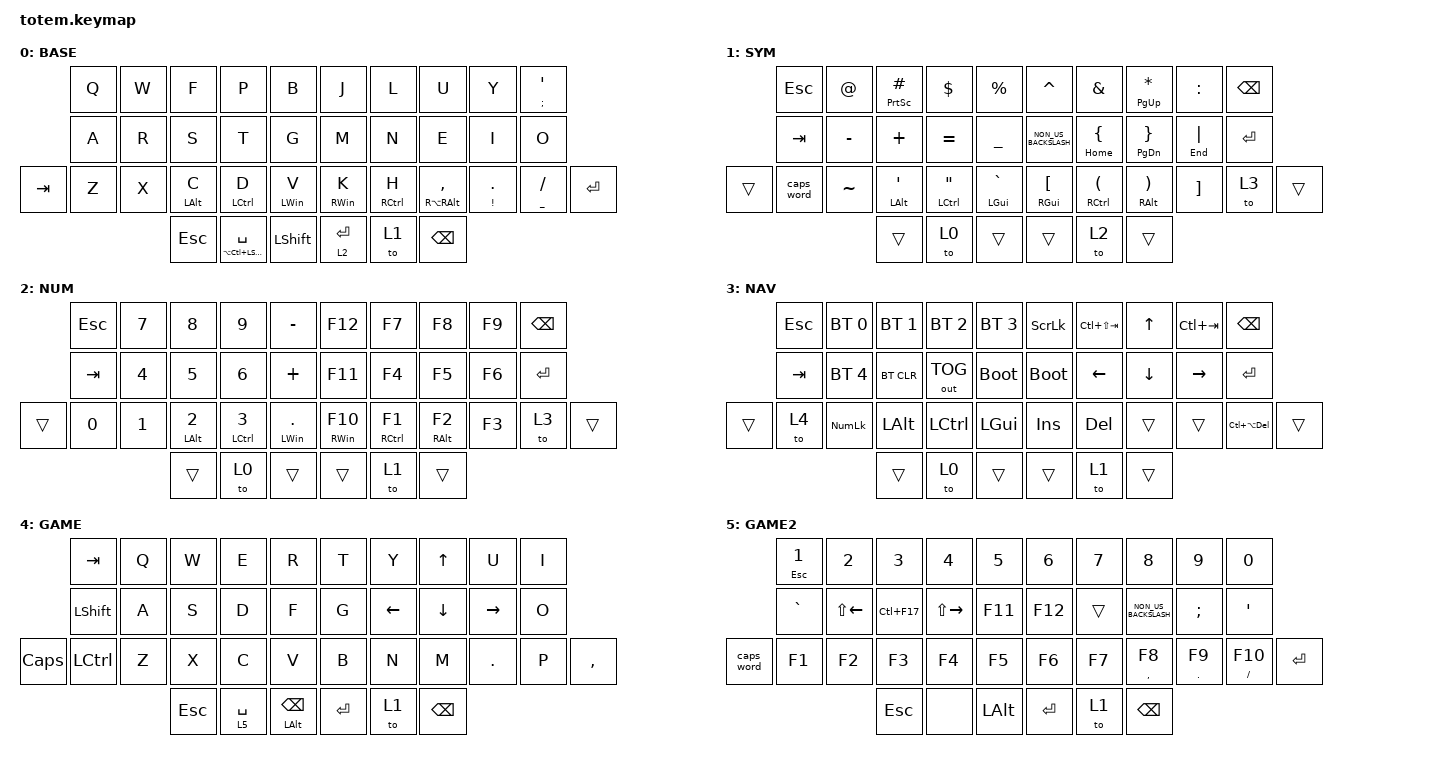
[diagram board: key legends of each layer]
//
//                                                        ▀▀▀▀▀     ▀▀▀▀▀          ▀▀█▀▀
//                                                        ▄▀▀▀▄  ▄  ▄▀▀▀▄  ▄  ▄▀▀▀▄  █  ▄▀▀▀▄
//                                                        █   █  █  █   █  █  █   █  █  █   █
//                                                         ▀▀▀   █   ▀▀▀   █   ▀▀▀   ▀   ▀▀▀
//                                                               █      ▄▄▄█▄▄▄    █   █  
//                                                               ▀      █  █  █     █▄█
//                                                             ▀▀▀▀▀    █  █  █      ▀
//                                                                      ▀  ▀  ▀
//
// ▄▄▄▄▄▄▄▄▄▄▄▄▄▄▄▄▄▄▄▄▄▄▄▄▄▄▄▄▄▄▄▄▄▄▄▄▄▄▄▄▄▄▄▄▄▄▄▄▄▄▄▄▄▄▄▄▄▄▄▄▄▄▄▄▄▄▄▄▄▄▄▄▄▄▄▄▄▄▄▄▄▄▄▄▄▄▄▄▄▄▄▄▄▄▄▄▄▄▄▄▄▄▄▄▄▄▄▄▄▄▄▄▄▄▄▄▄▄▄▄▄▄▄▄▄▄▄▄▄▄▄▄▄▄▄▄▄▄▄▄▄▄▄▄▄▄▄▄▄

#include <behaviors.dtsi>
#include <dt-bindings/zmk/bt.h>
#include <dt-bindings/zmk/keys.h>
#include <dt-bindings/zmk/outputs.h>

#define BASE 0
#define NAV  1
#define SYM  2
#define ADJ  3
#define TVP1 4
#define TVP2 5

&mt {
    quick-tap-ms = <100>;
    global-quick-tap;
    flavor = "tap-preferred";
    tapping-term-ms = <200>;
};

/ {
    combos {
        compatible = "zmk,combos";

        cut {
            bindings = <&kp LC(X)>;
            key-positions = <21 22 23>;
        };

        copy {
            bindings = <&kp LC(C)>;
            key-positions = <22 23 24>;
        };

        paste {
            bindings = <&kp LC(V)>;
            key-positions = <25 24 23>;
        };
    };

    macros {
        gif: gif {
            label = "giphy";
            compatible = "zmk,behavior-macro";
            #binding-cells = <0>;
            bindings =
                <&macro_press>,
                <&kp LSHFT>,
                <&macro_tap>,
                <&kp N2>,
                <&macro_release>,
                <&kp LSHFT>,
                <&macro_tap>,
                <&kp G &kp I &kp F>;
        };
    };

    keymap {
        compatible = "zmk,keymap";

        // ▄▄▄▄▄▄▄▄▄▄▄▄▄▄▄▄▄▄▄▄▄▄▄▄▄▄▄▄▄▄▄▄▄▄▄▄▄▄▄▄▄▄▄▄▄▄▄▄▄▄▄▄▄▄▄▄▄▄▄▄▄▄▄▄▄▄▄▄▄▄▄▄▄▄▄▄▄▄▄▄▄▄▄▄▄▄▄▄▄▄▄▄▄▄▄▄▄▄▄▄▄▄▄▄▄▄▄▄▄▄▄▄▄▄▄▄▄▄▄▄▄▄▄▄▄▄▄▄▄▄▄▄▄▄▄▄▄▄▄▄▄▄▄▄▄▄▄▄▄

        BASE {
            // ┏━━━━━━━━━━━━━━━━━━━━━━━━━━━━━━━━━━━━━━━┓

            label = "BASE";

            // ┗━━━━━━━━━━━━━━━━━━━━━━━━━━━━━━━━━━━━━━━┛
            //             ┏━━━━━━━━━━━┳━━━━━━━━━━━┳━━━━━━━━━━━┳━━━━━━━━━━━┳━━━━━━━━━━━┓   ┏━━━━━━━━━━━┳━━━━━━━━━━━┳━━━━━━━━━━━┳━━━━━━━━━━━┳━━━━━━━━━━━┓
            //             ┃     Q     ┃     W     ┃     F     ┃     P     ┃     G     ┃   ┃     J     ┃     L     ┃     U     ┃     Y     ┃     ;     ┃
            //             ┣━━━━━━━━━━━╋━━━━━━━━━━━╋━━━━━━━━━━━╋━━━━━━━━━━━╋━━━━━━━━━━━┫   ┣━━━━━━━━━━━╋━━━━━━━━━━━╋━━━━━━━━━━━╋━━━━━━━━━━━╋━━━━━━━━━━━┫
            //             ┃     A     ┃     R     ┃     S     ┃     T     ┃     D     ┃   ┃     H     ┃     N     ┃     E     ┃     I     ┃     O     ┃
            // ┏━━━━━━━━━━━╋━━━━━━━━━━━╋━━━━━━━━━━━╋━━━━━━━━━━━╋━━━━━━━━━━━╋━━━━━━━━━━━┫   ┣━━━━━━━━━━━╋━━━━━━━━━━━╋━━━━━━━━━━━╋━━━━━━━━━━━╋━━━━━━━━━━━╋━━━━━━━━━━━┓
            // ┃     Q     ┃     Z     ┃     X     ┃     C     ┃     V     ┃     B     ┃   ┃     K     ┃     M     ┃     ,     ┃     .     ┃     /     ┃     \     ┃
            // ┗━━━━━━━━━━━┻━━━━━━━━━━━┻━━━━━━━━━━━╋━━━━━━━━━━━╋━━━━━━━━━━━╋━━━━━━━━━━━┫   ┣━━━━━━━━━━━╋━━━━━━━━━━━╋━━━━━━━━━━━╋━━━━━━━━━━━┻━━━━━━━━━━━┻━━━━━━━━━━━┛
            //                                     ┃    DEL    ┃    TAB    ┃    SPC    ┃   ┃   ENTER   ┃           ┃   BSPC    ┃
            //                                     ┗━━━━━━━━━━━┻━━━━━━━━━━━┻━━━━━━━━━━━┛   ┗━━━━━━━━━━━┻━━━━━━━━━━━┻━━━━━━━━━━━┛

            bindings = <
         &kp Q  &kp W  &kp F           &kp P                         &kp B             &kp J            &kp L        &kp U                    &kp Y                   &mt SEMI SQT
         &kp A  &kp R  &kp S           &kp T                         &kp G             &kp M            &kp N        &kp E                    &kp I                   &kp O
&kp TAB  &kp Z  &kp X  &mt LEFT_ALT C  &mt LCTRL D                   &mt LEFT_WIN V    &mt RIGHT_WIN K  &mt RCTRL H  &mt RA(RIGHT_ALT) COMMA  &mt EXCLAMATION PERIOD  &mt UNDERSCORE SLASH  &kp ENTER
                       &kp ESCAPE      &mt LA(LC(LEFT_SHIFT)) SPACE  &kp LEFT_SHIFT    &lt 2 ENTER      &to 1        &kp BSPC
            >;
        };

        SYM {
            // ┏━━━━━━━━━━━━━━━━━━━━━━━━━━━━━━━━━━━━━━━┓

            label = "SYM";

            // ┗━━━━━━━━━━━━━━━━━━━━━━━━━━━━━━━━━━━━━━━┛
            //             ┏━━━━━━━━━━━┳━━━━━━━━━━━┳━━━━━━━━━━━┳━━━━━━━━━━━┳━━━━━━━━━━━┓   ┏━━━━━━━━━━━┳━━━━━━━━━━━┳━━━━━━━━━━━┳━━━━━━━━━━━┳━━━━━━━━━━━┓
            //             ┃           ┃           ┃     UP    ┃           ┃     {     ┃   ┃     }     ┃     7     ┃     8     ┃     9     ┃     +     ┃
            //             ┣━━━━━━━━━━━╋━━━━━━━━━━━╋━━━━━━━━━━━╋━━━━━━━━━━━╋━━━━━━━━━━━┫   ┣━━━━━━━━━━━╋━━━━━━━━━━━╋━━━━━━━━━━━╋━━━━━━━━━━━╋━━━━━━━━━━━┫
            //             ┃   SHIFT   ┃   LEFT    ┃    DOWN   ┃   RIGHT   ┃     [     ┃   ┃     ]     ┃     4     ┃     5     ┃     6     ┃     -     ┃
            // ┏━━━━━━━━━━━╋━━━━━━━━━━━╋━━━━━━━━━━━╋━━━━━━━━━━━╋━━━━━━━━━━━╋━━━━━━━━━━━┫   ┣━━━━━━━━━━━╋━━━━━━━━━━━╋━━━━━━━━━━━╋━━━━━━━━━━━╋━━━━━━━━━━━╋━━━━━━━━━━━┓
            // ┃           ┃           ┃   P UP    ┃  C LOCK   ┃  P DOWN   ┃     (     ┃   ┃     )     ┃     1     ┃     2     ┃     3     ┃     *     ┃           ┃
            // ┗━━━━━━━━━━━┻━━━━━━━━━━━┻━━━━━━━━━━━╋━━━━━━━━━━━╋━━━━━━━━━━━╋━━━━━━━━━━━┫   ┣━━━━━━━━━━━╋━━━━━━━━━━━╋━━━━━━━━━━━╋━━━━━━━━━━━┻━━━━━━━━━━━┻━━━━━━━━━━━┛
            //                                     ┃           ┃    TAB    ┃    SPC    ┃   ┃    DEL    ┃     0     ┃           ┃
            //                                     ┗━━━━━━━━━━━┻━━━━━━━━━━━┻━━━━━━━━━━━┛   ┗━━━━━━━━━━━┻━━━━━━━━━━━┻━━━━━━━━━━━┛

            bindings = <
        &kp ESCAPE  &kp AT_SIGN  &mt PRINTSCREEN HASH  &kp DOLLAR               &kp PERCENT           &kp CARET                   &kp AMPERSAND               &mt PAGE_UP ASTERISK             &kp COLON          &kp BACKSPACE
        &kp TAB     &kp MINUS    &kp PLUS              &kp EQUAL                &kp UNDERSCORE        &kp NON_US_BACKSLASH        &mt HOME LEFT_BRACE         &mt PAGE_DOWN RIGHT_BRACE        &mt END PIPE       &kp ENTER
&trans  &caps_word  &kp TILDE    &mt LEFT_ALT SQT      &mt LCTRL DOUBLE_QUOTES  &mt LEFT_GUI GRAVE    &mt RIGHT_GUI LEFT_BRACKET  &mt RCTRL LEFT_PARENTHESIS  &mt RIGHT_ALT RIGHT_PARENTHESIS  &kp RIGHT_BRACKET  &to 3          &trans
                                 &trans                &to 0                    &trans                &trans                      &to 2                       &trans
            >;
        };

        NUM {
            // ┏━━━━━━━━━━━━━━━━━━━━━━━━━━━━━━━━━━━━━━━┓

            label = "NUM";

            // ┗━━━━━━━━━━━━━━━━━━━━━━━━━━━━━━━━━━━━━━━┛
            //             ┏━━━━━━━━━━━┳━━━━━━━━━━━┳━━━━━━━━━━━┳━━━━━━━━━━━┳━━━━━━━━━━━┓   ┏━━━━━━━━━━━┳━━━━━━━━━━━┳━━━━━━━━━━━┳━━━━━━━━━━━┳━━━━━━━━━━━┓
            //             ┃     !     ┃     @     ┃     #     ┃     $     ┃     %     ┃   ┃     ˆ     ┃     &     ┃     Ü     ┃     '     ┃     "     ┃
            //             ┣━━━━━━━━━━━╋━━━━━━━━━━━╋━━━━━━━━━━━╋━━━━━━━━━━━╋━━━━━━━━━━━┫   ┣━━━━━━━━━━━╋━━━━━━━━━━━╋━━━━━━━━━━━╋━━━━━━━━━━━╋━━━━━━━━━━━┫
            //             ┃     Ä     ┃           ┃    SZ     ┃           ┃           ┃   ┃   MUTE    ┃   YEN     ┃   EURO    ┃  POUND    ┃     Ö     ┃
            // ┏━━━━━━━━━━━╋━━━━━━━━━━━╋━━━━━━━━━━━╋━━━━━━━━━━━╋━━━━━━━━━━━╋━━━━━━━━━━━┫   ┣━━━━━━━━━━━╋━━━━━━━━━━━╋━━━━━━━━━━━╋━━━━━━━━━━━╋━━━━━━━━━━━╋━━━━━━━━━━━┓
            // ┃           ┃  EMAIL1   ┃  EMAIL2   ┃           ┃           ┃           ┃   ┃   VOL-    ┃   VOL+    ┃   LAST    ┃   NEXT    ┃     \     ┃           ┃
            // ┗━━━━━━━━━━━┻━━━━━━━━━━━┻━━━━━━━━━━━╋━━━━━━━━━━━╋━━━━━━━━━━━╋━━━━━━━━━━━┫   ┣━━━━━━━━━━━╋━━━━━━━━━━━╋━━━━━━━━━━━╋━━━━━━━━━━━┻━━━━━━━━━━━┻━━━━━━━━━━━┛
            //                                     ┃           ┃    GIF    ┃    ADJ    ┃   ┃           ┃           ┃           ┃
            //                                     ┗━━━━━━━━━━━┻━━━━━━━━━━━┻━━━━━━━━━━━┛   ┗━━━━━━━━━━━┻━━━━━━━━━━━┻━━━━━━━━━━━┛

            bindings = <
        &kp ESCAPE  &kp N7        &kp N8                 &kp N9              &kp MINUS              &kp F12            &kp F7        &kp F8            &kp F9  &kp BACKSPACE
        &kp TAB     &kp NUMBER_4  &kp N5                 &kp NUMBER_6        &kp PLUS               &kp F11            &kp F4        &kp F5            &kp F6  &kp ENTER
&trans  &kp N0      &kp NUMBER_1  &mt LEFT_ALT NUMBER_2  &mt LCTRL NUMBER_3  &mt LEFT_WIN PERIOD    &mt RIGHT_WIN F10  &mt RCTRL F1  &mt RIGHT_ALT F2  &kp F3  &to 3          &trans
                                  &trans                 &to 0               &trans                 &trans             &to 1         &trans
            >;
        };

        NAV {
            // ┏━━━━━━━━━━━━━━━━━━━━━━━━━━━━━━━━━━━━━━━┓

            label = "NAV";

            // ┗━━━━━━━━━━━━━━━━━━━━━━━━━━━━━━━━━━━━━━━┛
            //             ┏━━━━━━━━━━━┳━━━━━━━━━━━┳━━━━━━━━━━━┳━━━━━━━━━━━┳━━━━━━━━━━━┓   ┏━━━━━━━━━━━┳━━━━━━━━━━━┳━━━━━━━━━━━┳━━━━━━━━━━━┳━━━━━━━━━━━┓
            //             ┃   RESET   ┃ BT CLEAR  ┃  OUT TOG  ┃           ┃           ┃   ┃           ┃    F7     ┃    F8     ┃    F9     ┃    F12    ┃
            //             ┣━━━━━━━━━━━╋━━━━━━━━━━━╋━━━━━━━━━━━╋━━━━━━━━━━━╋━━━━━━━━━━━┫   ┣━━━━━━━━━━━╋━━━━━━━━━━━╋━━━━━━━━━━━╋━━━━━━━━━━━╋━━━━━━━━━━━┫
            //             ┃ BOOTLOAD  ┃ BT NEXT   ┃           ┃           ┃           ┃   ┃           ┃    F4     ┃    F5     ┃    F6     ┃    F11    ┃
            // ┏━━━━━━━━━━━╋━━━━━━━━━━━╋━━━━━━━━━━━╋━━━━━━━━━━━╋━━━━━━━━━━━╋━━━━━━━━━━━┫   ┣━━━━━━━━━━━╋━━━━━━━━━━━╋━━━━━━━━━━━╋━━━━━━━━━━━╋━━━━━━━━━━━╋━━━━━━━━━━━┓
            // ┃           ┃           ┃ BT PREV   ┃           ┃           ┃           ┃   ┃           ┃    F1     ┃    F2     ┃    F3     ┃    F10    ┃           ┃
            // ┗━━━━━━━━━━━┻━━━━━━━━━━━┻━━━━━━━━━━━╋━━━━━━━━━━━╋━━━━━━━━━━━╋━━━━━━━━━━━┫   ┣━━━━━━━━━━━╋━━━━━━━━━━━╋━━━━━━━━━━━╋━━━━━━━━━━━┻━━━━━━━━━━━┻━━━━━━━━━━━┛
            //                                     ┃           ┃           ┃           ┃   ┃           ┃           ┃           ┃
            //                                     ┗━━━━━━━━━━━┻━━━━━━━━━━━┻━━━━━━━━━━━┛   ┗━━━━━━━━━━━┻━━━━━━━━━━━┻━━━━━━━━━━━┛

            bindings = <
        &kp ESCAPE  &bt BT_SEL 0    &bt BT_SEL 1  &bt BT_SEL 2  &bt BT_SEL 3    &kp SCROLLLOCK  &kp LC(LS(TAB))  &kp UP_ARROW    &kp LC(TAB)      &kp BACKSPACE
        &kp TAB     &bt BT_SEL 4    &bt BT_CLR    &out OUT_TOG  &bootloader     &bootloader     &kp LEFT_ARROW   &kp DOWN_ARROW  &kp RIGHT_ARROW  &kp ENTER
&trans  &to 4       &kp KP_NUMLOCK  &kp LEFT_ALT  &kp LCTRL     &kp LEFT_GUI    &kp INS         &kp DELETE       &trans          &trans           &kp LC(LA(DELETE))  &trans
                                    &trans        &to 0         &trans          &trans          &to 1            &trans
            >;
        };

        GAME_LAYER {
            // ┏━━━━━━━━━━━━━━━━━━━━━━━━━━━━━━━━━━━━━━━┓

            label = "GAME";

            // ┗━━━━━━━━━━━━━━━━━━━━━━━━━━━━━━━━━━━━━━━┛
            //             ┏━━━━━━━━━━━┳━━━━━━━━━━━┳━━━━━━━━━━━┳━━━━━━━━━━━┳━━━━━━━━━━━┓   ┏━━━━━━━━━━━┳━━━━━━━━━━━┳━━━━━━━━━━━┳━━━━━━━━━━━┳━━━━━━━━━━━┓
            //             ┃ NEXT FILE ┃ MARK IN   ┃ ROTATE    ┃ MARK OUT  ┃ SHOW SNAP ┃   ┃           ┃           ┃           ┃           ┃           ┃
            //             ┣━━━━━━━━━━━╋━━━━━━━━━━━╋━━━━━━━━━━━╋━━━━━━━━━━━╋━━━━━━━━━━━┫   ┣━━━━━━━━━━━╋━━━━━━━━━━━╋━━━━━━━━━━━╋━━━━━━━━━━━╋━━━━━━━━━━━┫
            //             ┃ TVP II    ┃ LEFT      ┃ PAN       ┃ RIGHT     ┃ PLAY/FLIP ┃   ┃           ┃           ┃           ┃           ┃           ┃
            // ┏━━━━━━━━━━━╋━━━━━━━━━━━╋━━━━━━━━━━━╋━━━━━━━━━━━╋━━━━━━━━━━━╋━━━━━━━━━━━┫   ┣━━━━━━━━━━━╋━━━━━━━━━━━╋━━━━━━━━━━━╋━━━━━━━━━━━╋━━━━━━━━━━━╋━━━━━━━━━━━┓
            // ┃ FULLSCR   ┃ SHIFT     ┃ COPY      ┃ DELETE    ┃ PASTE     ┃ IMG MARK  ┃   ┃           ┃           ┃           ┃           ┃           ┃           ┃
            // ┗━━━━━━━━━━━┻━━━━━━━━━━━┻━━━━━━━━━━━╋━━━━━━━━━━━╋━━━━━━━━━━━╋━━━━━━━━━━━┫   ┣━━━━━━━━━━━╋━━━━━━━━━━━╋━━━━━━━━━━━╋━━━━━━━━━━━┻━━━━━━━━━━━┻━━━━━━━━━━━┛
            //                                     ┃           ┃ UNDO/SAVE ┃  SEL/MOV  ┃   ┃           ┃           ┃           ┃
            //                                     ┗━━━━━━━━━━━┻━━━━━━━━━━━┻━━━━━━━━━━━┛   ┗━━━━━━━━━━━┻━━━━━━━━━━━┻━━━━━━━━━━━┛

            bindings = <
              &kp TAB    &kp Q  &kp W       &kp E        &kp R                     &kp T      &kp Y           &kp UP_ARROW    &kp U            &kp I
              &kp LSHFT  &kp A  &kp S       &kp D        &kp F                     &kp G      &kp LEFT_ARROW  &kp DOWN_ARROW  &kp RIGHT_ARROW  &kp O
&kp CAPSLOCK  &kp LCTRL  &kp Z  &kp X       &kp C        &kp V                     &kp B      &kp N           &kp M           &kp PERIOD       &kp P  &kp COMMA
                                &kp ESCAPE  &lt 5 SPACE  &mt LEFT_ALT BACKSPACE    &kp ENTER  &to 1           &kp BACKSPACE
            >;
        };

        GAME_LAYER2 {
            // ┏━━━━━━━━━━━━━━━━━━━━━━━━━━━━━━━━━━━━━━━┓

            label = "GAME2";

            // ┗━━━━━━━━━━━━━━━━━━━━━━━━━━━━━━━━━━━━━━━┛
            //             ┏━━━━━━━━━━━┳━━━━━━━━━━━┳━━━━━━━━━━━┳━━━━━━━━━━━┳━━━━━━━━━━━┓   ┏━━━━━━━━━━━┳━━━━━━━━━━━┳━━━━━━━━━━━┳━━━━━━━━━━━┳━━━━━━━━━━━┓
            //             ┃ SOLO      ┃ TOGGLE IN ┃ RESET ROT ┃ TOGGLE OUT┃ TAKE SNAP ┃   ┃           ┃           ┃           ┃           ┃           ┃
            //             ┣━━━━━━━━━━━╋━━━━━━━━━━━╋━━━━━━━━━━━╋━━━━━━━━━━━╋━━━━━━━━━━━┫   ┣━━━━━━━━━━━╋━━━━━━━━━━━╋━━━━━━━━━━━╋━━━━━━━━━━━╋━━━━━━━━━━━┫
            //             ┃ ---       ┃ LAST KEY  ┃ NEW KEY   ┃ NEXT KEY  ┃ ENTER     ┃   ┃           ┃           ┃           ┃           ┃           ┃
            // ┏━━━━━━━━━━━╋━━━━━━━━━━━╋━━━━━━━━━━━╋━━━━━━━━━━━╋━━━━━━━━━━━╋━━━━━━━━━━━┫   ┣━━━━━━━━━━━╋━━━━━━━━━━━╋━━━━━━━━━━━╋━━━━━━━━━━━╋━━━━━━━━━━━╋━━━━━━━━━━━┓
            // ┃           ┃ FULLSCR   ┃ CPY2BRUSH ┃ DEL HEAD  ┃ PSTinPLACE┃ BOOK MARK ┃   ┃           ┃           ┃           ┃           ┃           ┃           ┃
            // ┗━━━━━━━━━━━┻━━━━━━━━━━━┻━━━━━━━━━━━╋━━━━━━━━━━━╋━━━━━━━━━━━╋━━━━━━━━━━━┫   ┣━━━━━━━━━━━╋━━━━━━━━━━━╋━━━━━━━━━━━╋━━━━━━━━━━━┻━━━━━━━━━━━┻━━━━━━━━━━━┛
            //                                     ┃           ┃ REDO/SAV1 ┃TRANS/WARP ┃   ┃           ┃           ┃           ┃
            //                                     ┗━━━━━━━━━━━┻━━━━━━━━━━━┻━━━━━━━━━━━┛   ┗━━━━━━━━━━━┻━━━━━━━━━━━┻━━━━━━━━━━━┛

            bindings = <
            &mt ESCAPE NUMBER_1  &kp N2        &kp N3       &kp N4         &kp N5          &kp N6     &kp N7  &kp N8                &kp N9         &kp N0
            &kp GRAVE            &kp LS(LEFT)  &kp LC(F17)  &kp LS(RIGHT)  &kp F11         &kp F12    &trans  &kp NON_US_BACKSLASH  &kp SEMICOLON  &kp SQT
&caps_word  &kp F1               &kp F2        &kp F3       &kp F4         &kp F5          &kp F6     &kp F7  &mt COMMA F8          &mt PERIOD F9  &mt SLASH F10  &kp ENTER
                                               &kp ESCAPE   &none          &kp LEFT_ALT    &kp ENTER  &to 1   &kp BACKSPACE
            >;
        };
    };
};
